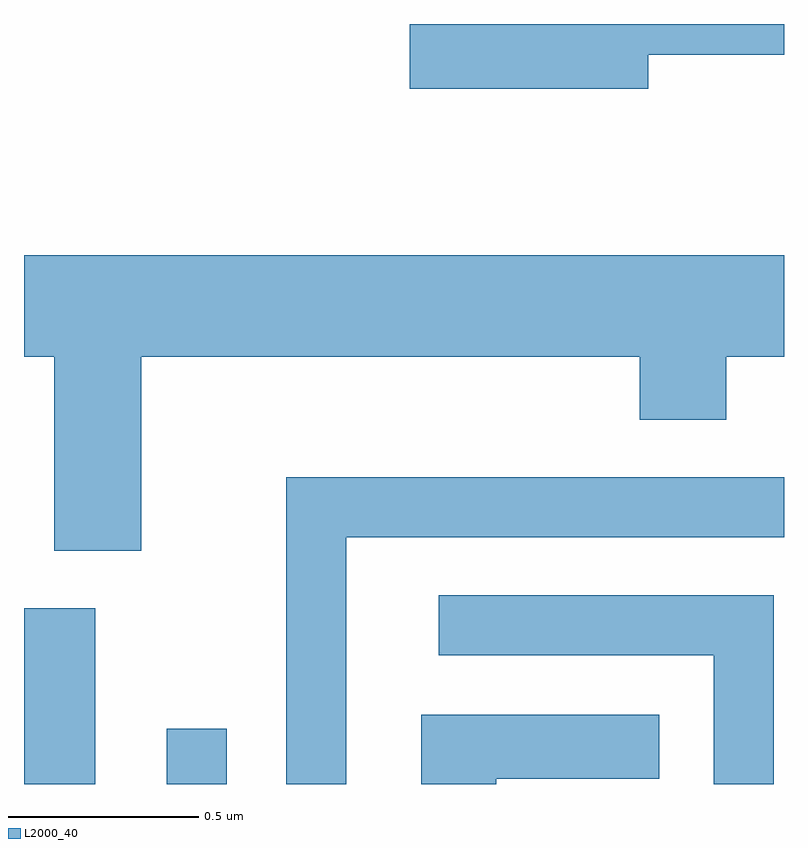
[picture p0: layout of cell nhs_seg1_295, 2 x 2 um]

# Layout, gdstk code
import gdstk
lib = gdstk.Library(unit=1e-6, precision=1e-09)
def R(c, l, rs):  # rectangles x0, y0, x1, y1
    for r in rs: c.add(gdstk.rectangle(r[:2], r[2:], *l))
def P(c, l, *ps):  # polygons
    for p in ps: c.add(gdstk.Polygon(p, *l))
L2000_40 = (2000, 40)

nhs_seg1_295 = lib.new_cell('nhs_seg1_295')
R(nhs_seg1_295, L2000_40, [(187.611,860.712,187.799,861.174), (187.986,860.712,188.144,860.858)])
P(nhs_seg1_295, L2000_40, [(189.254,862.631),(189.611,862.631),(189.611,862.712),(188.626,862.712),(188.626,862.541),(189.254,862.541)],
  [(187.919,861.836),(189.231,861.836),(189.231,861.671),(189.459,861.671),(189.459,861.836),(189.611,861.836),(189.611,862.104),(187.611,862.104),(187.611,861.836),(187.691,861.836),(187.691,861.326),(187.919,861.326)],
  [(188.459,861.361),(189.611,861.361),(189.611,861.519),(188.301,861.519),(188.301,860.712),(188.459,860.712)],
  [(189.584,861.209),(188.703,861.209),(188.703,861.051),(189.426,861.051),(189.426,860.712),(189.584,860.712)],
  [(188.854,860.726),(189.283,860.726),(189.283,860.894),(188.656,860.894),(188.656,860.712),(188.854,860.712)])

lib.write_gds('nhs_seg1_295.gds')
